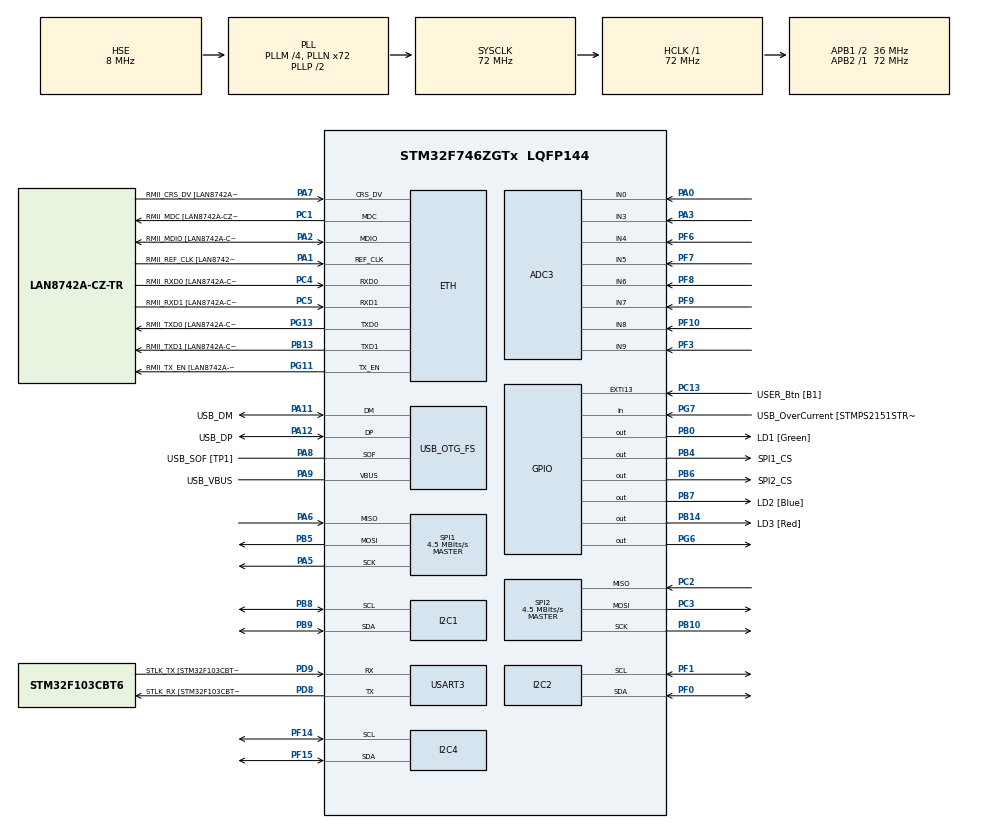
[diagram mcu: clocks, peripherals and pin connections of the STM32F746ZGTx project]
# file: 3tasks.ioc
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ADC3.Channel-1\#ChannelRegularConversion=ADC_CHANNEL_0
ADC3.NbrOfConversionFlag=1
ADC3.Rank-1\#ChannelRegularConversion=1
ADC3.SamplingTime-1\#ChannelRegularConversion=ADC_SAMPLETIME_3CYCLES
Dma.Request0=USART3_RX
Dma.Request1=USART3_TX
Dma.USART3_RX.0.Direction=DMA_PERIPH_TO_MEMORY
Dma.USART3_RX.0.FIFOMode=DMA_FIFOMODE_DISABLE
Dma.USART3_RX.0.Instance=DMA1_Stream1
Dma.USART3_RX.0.MemDataAlignment=DMA_MDATAALIGN_BYTE
Dma.USART3_RX.0.MemInc=DMA_MINC_ENABLE
Dma.USART3_RX.0.Mode=DMA_CIRCULAR
Dma.USART3_RX.0.PeriphDataAlignment=DMA_PDATAALIGN_BYTE
Dma.USART3_RX.0.PeriphInc=DMA_PINC_DISABLE
Dma.USART3_RX.0.Priority=DMA_PRIORITY_VERY_HIGH
Dma.USART3_TX.1.Direction=DMA_MEMORY_TO_PERIPH
Dma.USART3_TX.1.FIFOMode=DMA_FIFOMODE_DISABLE
Dma.USART3_TX.1.Instance=DMA1_Stream3
Dma.USART3_TX.1.MemDataAlignment=DMA_MDATAALIGN_BYTE
Dma.USART3_TX.1.MemInc=DMA_MINC_ENABLE
Dma.USART3_TX.1.Mode=DMA_NORMAL
Dma.USART3_TX.1.PeriphDataAlignment=DMA_PDATAALIGN_BYTE
Dma.USART3_TX.1.PeriphInc=DMA_PINC_DISABLE
Dma.USART3_TX.1.Priority=DMA_PRIORITY_VERY_HIGH
ETH.MediaInterface=HAL_ETH_RMII_MODE
ETH.PHY_Name=LAN8742A_PHY_ADDRESS
ETH.PHY_Value=0
ETH.PhyAddress=0
FREERTOS.BinarySemaphores01=myBinarySem,Dynamic,NULL
FREERTOS.INCLUDE_pcTaskGetTaskName=1
FREERTOS.INCLUDE_xSemaphoreGetMutexHolder=1
FREERTOS.Tasks01=Enable,40,128,StartEnable,Default,NULL,Dynamic,NULL,NULL;Init,32,128,StartInit,Default,NULL,Dynamic,NULL,NULL;Update,16,128,StartUpdate,Default,NULL,Dynamic,NULL,NULL;defaultTask,24,3000,StartDefaultTask,Default,NULL,Static,defaultTaskBuffer,defaultTaskControlBlock
FREERTOS.configUSE_NEWLIB_REENTRANT=1
I2C1.Timing=0x00808CD2
I2C2.Timing=0x00808CD2
I2C4.Timing=0x00808CD2
Mcu.Family=STM32F7
Mcu.Name=STM32F746ZGTx
Mcu.Package=LQFP144
NVIC.DMA1_Stream1_IRQn=true\:5\:0\:false\:false\:true\:true\:false\:true\:true
NVIC.DMA1_Stream3_IRQn=true\:5\:0\:false\:false\:true\:true\:false\:true\:true
NVIC.PriorityGroup=NVIC_PRIORITYGROUP_4
NVIC.TIM6_DAC_IRQn=true\:15\:0\:false\:false\:true\:false\:false\:true\:true
NVIC.TimeBase=TIM6_DAC_IRQn
NVIC.TimeBaseIP=TIM6
NVIC.USART3_IRQn=true\:5\:0\:false\:false\:true\:true\:true\:true\:true
PA0/WKUP.Signal=ADCx_IN0
PA1.GPIO_Label=RMII_REF_CLK [LAN8742A-CZ-TR_REFCLK0]
PA1.Mode=RMII
PA1.Signal=ETH_REF_CLK
PA10.GPIO_Label=USB_ID
PA10.Signal=USB_OTG_FS_ID
PA11.GPIO_Label=USB_DM
PA11.Mode=Device_Only
PA11.Signal=USB_OTG_FS_DM
PA12.GPIO_Label=USB_DP
PA12.Mode=Device_Only
PA12.Signal=USB_OTG_FS_DP
PA13.GPIO_Label=TMS
PA13.Mode=Serial_Wire
PA13.Signal=SYS_JTMS-SWDIO
PA14.GPIO_Label=TCK
PA14.Mode=Serial_Wire
PA14.Signal=SYS_JTCK-SWCLK
PA2.GPIO_Label=RMII_MDIO [LAN8742A-CZ-TR_MDIO]
PA2.Mode=RMII
PA2.Signal=ETH_MDIO
PA3.Signal=ADCx_IN3
PA5.Mode=Full_Duplex_Master
PA5.Signal=SPI1_SCK
PA6.Mode=Full_Duplex_Master
PA6.Signal=SPI1_MISO
PA7.GPIO_Label=RMII_CRS_DV [LAN8742A-CZ-TR_CRS_DV]
PA7.Mode=RMII
PA7.Signal=ETH_CRS_DV
PA8.GPIO_Label=USB_SOF [TP1]
PA8.Mode=Activate_SOF_FS
PA8.Signal=USB_OTG_FS_SOF
PA9.GPIO_Label=USB_VBUS
PA9.Mode=Activate_VBUS
PA9.Signal=USB_OTG_FS_VBUS
PB0.GPIO_Label=LD1 [Green]
PB0.Signal=GPIO_Output
PB10.Mode=Full_Duplex_Master
PB10.Signal=SPI2_SCK
PB13.GPIO_Label=RMII_TXD1 [LAN8742A-CZ-TR_TXD1]
PB13.Mode=RMII
PB13.Signal=ETH_TXD1
PB14.GPIO_Label=LD3 [Red]
PB14.Signal=GPIO_Output
PB3.GPIO_Label=SW0
PB3.Signal=SYS_JTDO-SWO
PB4.GPIO_Label=SPI1_CS
PB4.Signal=GPIO_Output
PB5.Mode=Full_Duplex_Master
PB5.Signal=SPI1_MOSI
PB6.GPIO_Label=SPI2_CS
PB6.Signal=GPIO_Output
PB7.GPIO_Label=LD2 [Blue]
PB7.Signal=GPIO_Output
PB8.Mode=I2C
PB8.Signal=I2C1_SCL
PB9.Mode=I2C
PB9.Signal=I2C1_SDA
PC1.GPIO_Label=RMII_MDC [LAN8742A-CZ-TR_MDC]
PC1.Mode=RMII
PC1.Signal=ETH_MDC
PC13.GPIO_Label=USER_Btn [B1]
PC13.Signal=GPXTI13
PC14/OSC32_IN.Mode=LSE-External-Oscillator
PC14/OSC32_IN.Signal=RCC_OSC32_IN
PC15/OSC32_OUT.Mode=LSE-External-Oscillator
PC15/OSC32_OUT.Signal=RCC_OSC32_OUT
PC2.Mode=Full_Duplex_Master
PC2.Signal=SPI2_MISO
PC3.Mode=Full_Duplex_Master
PC3.Signal=SPI2_MOSI
PC4.GPIO_Label=RMII_RXD0 [LAN8742A-CZ-TR_RXD0]
PC4.Mode=RMII
PC4.Signal=ETH_RXD0
PC5.GPIO_Label=RMII_RXD1 [LAN8742A-CZ-TR_RXD1]
PC5.Mode=RMII
PC5.Signal=ETH_RXD1
PD8.GPIO_Label=STLK_RX [STM32F103CBT6_PA3]
PD8.GPIO_PuPd=GPIO_PULLUP
PD8.Mode=Asynchronous
PD8.Signal=USART3_TX
PD9.GPIO_Label=STLK_TX [STM32F103CBT6_PA2]
PD9.GPIO_PuPd=GPIO_PULLUP
PD9.Mode=Asynchronous
PD9.Signal=USART3_RX
PF0.Mode=I2C
PF0.Signal=I2C2_SDA
PF1.Mode=I2C
PF1.Signal=I2C2_SCL
PF10.Mode=IN8
PF10.Signal=ADC3_IN8
PF14.Mode=I2C
PF14.Signal=I2C4_SCL
PF15.Mode=I2C
PF15.Signal=I2C4_SDA
PF3.Mode=IN9
PF3.Signal=ADC3_IN9
PF6.Mode=IN4
PF6.Signal=ADC3_IN4
PF7.Mode=IN5
PF7.Signal=ADC3_IN5
PF8.Mode=IN6
PF8.Signal=ADC3_IN6
PF9.Mode=IN7
PF9.Signal=ADC3_IN7
PG11.GPIO_Label=RMII_TX_EN [LAN8742A-CZ-TR_TXEN]
PG11.Mode=RMII
PG11.Signal=ETH_TX_EN
PG13.GPIO_Label=RMII_TXD0 [LAN8742A-CZ-TR_TXD0]
PG13.Mode=RMII
PG13.Signal=ETH_TXD0
PG6.Signal=GPIO_Output
PG7.GPIO_Label=USB_OverCurrent [STMPS2151STR_FAULT]
PG7.Signal=GPIO_Input
PH0/OSC_IN.GPIO_Label=MCO [STM32F103CBT6_PA8]
PH0/OSC_IN.Mode=HSE-External-Clock-Source
PH0/OSC_IN.Signal=RCC_OSC_IN
PH1/OSC_OUT.Mode=HSE-External-Clock-Source
PH1/OSC_OUT.Signal=RCC_OSC_OUT
ProjectManager.HeapSize=0x200
ProjectManager.StackSize=0x400
ProjectManager.TargetToolchain=Makefile
RCC.48MHZClocksFreq_Value=24000000
RCC.AHBFreq_Value=72000000
RCC.APB1CLKDivider=RCC_HCLK_DIV2
RCC.APB1Freq_Value=36000000
RCC.APB1TimFreq_Value=72000000
RCC.APB2Freq_Value=72000000
RCC.APB2TimFreq_Value=72000000
RCC.CortexFreq_Value=72000000
RCC.HCLKFreq_Value=72000000
RCC.HSE_VALUE=8000000
RCC.HSI_VALUE=16000000
RCC.PLLM=4
RCC.PLLMUL=RCC_PLL_MUL9
RCC.PLLN=72
RCC.PLLQ=3
RCC.PRESCALERUSB=RCC_USBCLKSOURCE_PLL_DIV1_5
RCC.SYSCLKFreq_VALUE=72000000
RCC.SYSCLKSource=RCC_SYSCLKSOURCE_PLLCLK
RCC.SYSCLKSourceVirtual=RCC_SYSCLKSOURCE_PLLCLK
RCC.USBFreq_Value=48000000
RCC.VCOOutputFreq_Value=144000000
SH.ADCx_IN0.0=ADC3_IN0,IN0
SH.ADCx_IN3.0=ADC3_IN3,IN3
SPI1.BaudRatePrescaler=SPI_BAUDRATEPRESCALER_16
SPI1.CalculateBaudRate=4.5 MBits/s
SPI1.DataSize=SPI_DATASIZE_8BIT
SPI1.Direction=SPI_DIRECTION_2LINES
SPI1.Mode=SPI_MODE_MASTER
SPI1.NSSPMode=SPI_NSS_PULSE_DISABLE
SPI1.VirtualType=VM_MASTER
SPI2.BaudRatePrescaler=SPI_BAUDRATEPRESCALER_8
SPI2.CalculateBaudRate=4.5 MBits/s
SPI2.DataSize=SPI_DATASIZE_8BIT
SPI2.Direction=SPI_DIRECTION_2LINES
SPI2.Mode=SPI_MODE_MASTER
SPI2.NSSPMode=SPI_NSS_PULSE_DISABLE
SPI2.VirtualType=VM_MASTER
USART3.VirtualMode-Asynchronous=VM_ASYNC
USB_OTG_FS.VirtualMode=Device_Only
VP_FREERTOS_VS_CMSIS_V2.Mode=CMSIS_V2
VP_SYS_VS_tim6.Mode=TIM6
board=NUCLEO-F746ZG

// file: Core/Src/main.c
/* USER CODE BEGIN Header */
/**
  ******************************************************************************
  * @file           : main.c
  * @brief          : Main program body
  ******************************************************************************
  * @attention
  *
  * Copyright (c) 2023 STMicroelectronics.
  * All rights reserved.
  *
  * This software is licensed under terms that can be found in the LICENSE file
  * in the root directory of this software component.
  * If no LICENSE file comes with this software, it is provided AS-IS.
  *
  ******************************************************************************
  */
/* USER CODE END Header */
#include "main.h"
#include "cmsis_os.h"
#include "adc.h"
#include "dma.h"
#include "eth.h"
#include "i2c.h"
#include "spi.h"
#include "usart.h"
#include "usb_otg.h"
#include "gpio.h"

/* USER CODE BEGIN Includes */
#include <std_msgs/msg/u_int8_multi_array.h>
/* USER CODE END Includes */

/* USER CODE BEGIN PD */
//Creating a structure to specify the SPI communication with MAX7301 will be 2 byte. One is the register address and the second is the data send to the MAX7301
typedef struct
{
	uint8_t address;
	uint8_t value;
} ConfigParam_t;

//Creating a structure to hold the state of each antenna
typedef struct
{
	uint8_t antEnable;
}ConfigAnt;
/* USER CODE END PD */

/* USER CODE BEGIN PV */
//Declaration of an array with enable value for 2 daisy chained MAX7301
static const ConfigParam_t arrayConfig[] = {{.address = 0x04, .value = 0x01},
											{.address = 0x04, .value = 0x01}};

//Declaration of an array with the initialization parameters. Port P4 to P27 set has output.
static const ConfigParam_t arrayInitialize[] = {{.address = 0x09, .value = 0x55},
												{.address = 0x0A, .value = 0x55},
												{.address = 0x0B, .value = 0x55},
												{.address = 0x0C, .value = 0x55},
												{.address = 0x0D, .value = 0x55},
												{.address = 0x0E, .value = 0x55}};
//Declaration of each antenna state. Each bit in each byte is to enable one antenna.
//Ex : ConfigRISA[0] control antenna 1 to 8, ConfigRISA[1] control antenna 9 to 17
// ConfigRISA[0].antEnable = 0000 0001 -> enable antenna 1 				and disable all others from this byte
// ConfigRISA[3].antEnable = 1000 1001 -> enable antenna 27, 30 and 34	and disable all others from this byte
static ConfigAnt ConfigRISA[] = 	{{.antEnable = 0xAA},		// [0] Antenna 1 	to 8
										 {.antEnable = 0xAA},		// [1] Antenna 9	to 16
										 {.antEnable = 0xAA},		// [2] Antenna 17 	to 24
										 {.antEnable = 0xAA},		// [3] Antenna 25 	to 32
										 {.antEnable = 0xAA},		// [4] Antenna 33 	to 40
										 {.antEnable = 0xAA}};		// [5] Antenna 41 	to 48

static ConfigAnt ConfigRISB[] = 	{{.antEnable = 0xAA},		// [0] Antenna 1 	to 8
										 {.antEnable = 0xAA},		// [1] Antenna 9	to 16
										 {.antEnable = 0xAA},		// [2] Antenna 17 	to 24
										 {.antEnable = 0xAA},		// [3] Antenna 25 	to 32
										 {.antEnable = 0xAA},		// [4] Antenna 33 	to 40
										 {.antEnable = 0xAA}};		// [5] Antenna 41 	to 48
/* USER CODE END PV */

void SystemClock_Config(void);
void MX_FREERTOS_Init(void);

int main(void)
{

  /* MCU Configuration--------------------------------------------------------*/

  /* Reset of all peripherals, Initializes the Flash interface and the Systick. */
  HAL_Init();

  /* Configure the system clock */
  SystemClock_Config();

  /* Initialize all configured peripherals */
  MX_GPIO_Init();
  MX_DMA_Init();
  MX_USART3_UART_Init();
  MX_USB_OTG_FS_PCD_Init();
  MX_SPI1_Init();
  MX_ETH_Init();
  MX_SPI2_Init();
  MX_ADC3_Init();
  MX_I2C1_Init();
  MX_I2C2_Init();
  MX_I2C4_Init();
  /* USER CODE BEGIN 2 */
  HAL_GPIO_WritePin(GPIOB,GPIO_PIN_4,GPIO_PIN_SET);
  HAL_GPIO_WritePin(GPIOB,GPIO_PIN_6,GPIO_PIN_SET);
  /* USER CODE END 2 */

  /* Init scheduler */
  osKernelInitialize();  /* Call init function for freertos objects (in freertos.c) */
  MX_FREERTOS_Init();

  /* Start scheduler */
  osKernelStart();
  /* We should never get here as control is now taken by the scheduler */
  /* Infinite loop */
  while (1)
  {

  }
}

void SystemClock_Config(void)
{
  RCC_OscInitTypeDef RCC_OscInitStruct = {0};
  RCC_ClkInitTypeDef RCC_ClkInitStruct = {0};

  /** Configure LSE Drive Capability
  */
  HAL_PWR_EnableBkUpAccess();

  /** Configure the main internal regulator output voltage
  */
  __HAL_RCC_PWR_CLK_ENABLE();
  __HAL_PWR_VOLTAGESCALING_CONFIG(PWR_REGULATOR_VOLTAGE_SCALE3);

  /** Initializes the RCC Oscillators according to the specified parameters
  * in the RCC_OscInitTypeDef structure.
  */
  RCC_OscInitStruct.OscillatorType = RCC_OSCILLATORTYPE_HSE;
  RCC_OscInitStruct.HSEState = RCC_HSE_BYPASS;
  RCC_OscInitStruct.PLL.PLLState = RCC_PLL_ON;
  RCC_OscInitStruct.PLL.PLLSource = RCC_PLLSOURCE_HSE;
  RCC_OscInitStruct.PLL.PLLM = 4;
  RCC_OscInitStruct.PLL.PLLN = 72;
  RCC_OscInitStruct.PLL.PLLP = RCC_PLLP_DIV2;
  RCC_OscInitStruct.PLL.PLLQ = 3;
  if (HAL_RCC_OscConfig(&RCC_OscInitStruct) != HAL_OK)
  {
    Error_Handler();
  }

  /** Initializes the CPU, AHB and APB buses clocks
  */
  RCC_ClkInitStruct.ClockType = RCC_CLOCKTYPE_HCLK|RCC_CLOCKTYPE_SYSCLK
                              |RCC_CLOCKTYPE_PCLK1|RCC_CLOCKTYPE_PCLK2;
  RCC_ClkInitStruct.SYSCLKSource = RCC_SYSCLKSOURCE_PLLCLK;
  RCC_ClkInitStruct.AHBCLKDivider = RCC_SYSCLK_DIV1;
  RCC_ClkInitStruct.APB1CLKDivider = RCC_HCLK_DIV2;
  RCC_ClkInitStruct.APB2CLKDivider = RCC_HCLK_DIV1;

  if (HAL_RCC_ClockConfig(&RCC_ClkInitStruct, FLASH_LATENCY_2) != HAL_OK)
  {
    Error_Handler();
  }
}

void HAL_TIM_PeriodElapsedCallback(TIM_HandleTypeDef *htim)
{
  if (htim->Instance == TIM6) {
    HAL_IncTick();
  }
}

void Error_Handler(void)
{
  __disable_irq();
  while (1)
  {
  }
}

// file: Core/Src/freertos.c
/* USER CODE BEGIN Header */
/**
  ******************************************************************************
  * File Name          : freertos.c
  * Description        : Code for freertos applications
  ******************************************************************************
  * @attention
  *
  * Copyright (c) 2023 STMicroelectronics.
  * All rights reserved.
  *
  * This software is licensed under terms that can be found in the LICENSE file
  * in the root directory of this software component.
  * If no LICENSE file comes with this software, it is provided AS-IS.
  *
  ******************************************************************************
  */
/* USER CODE END Header */

#include "FreeRTOS.h"
#include "task.h"
#include "main.h"
#include "cmsis_os.h"

/* USER CODE BEGIN Includes */
#include <stdbool.h>
#include <string.h>
#include "rcl/rcl.h"
#include <rcl/error_handling.h>
#include <rclc/rclc.h>
#include <rclc/executor.h>
#include <uxr/client/transport.h>
#include <rmw_microxrcedds_c/config.h>
#include <rmw_microros/rmw_microros.h>

#include <std_msgs/msg/int8.h>
#include <std_msgs/msg/int8_multi_array.h>
#include <std_msgs/msg/int32.h>
#include <std_msgs/msg/u_int8_multi_array.h>
#include <rosidl_runtime_c/message_type_support_struct.h>

#include "usart.h"
#include "spi.h"
#include "i2c.h"
/* USER CODE END Includes */

typedef StaticTask_t osStaticThreadDef_t;

/* USER CODE BEGIN PD */
#define PUB 2
#define SUB 1
#define MODE SUB

#define BUF_SIZE 100
#define MSG_LEN 6

//Creating a structure to specify the SPI communication with MAX7301 will be 2 byte. One is the register address and the second is the data send to the MAX7301
typedef struct
{
    uint8_t address;
    uint8_t value;
} ConfigParam_t;

//Creating a structure to hold the state of each antenna
typedef struct
{
    uint8_t antEnable;
}ConfigAnt;
/* USER CODE END PD */

/* USER CODE BEGIN Variables */
//Declaration of an array with enable value for 2 daisy chained MAX7301
static const ConfigParam_t arrayConfig[] = {{.address = 0x04, .value = 0x01},
                                            {.address = 0x04, .value = 0x01}};

//Declaration of an array with the initialization parameters. Port P4 to P27 set has output.
static const ConfigParam_t arrayInitialize[] = {{.address = 0x09, .value = 0x55},
                                                {.address = 0x0A, .value = 0x55},
                                                {.address = 0x0B, .value = 0x55},
                                                {.address = 0x0C, .value = 0x55},
                                                {.address = 0x0D, .value = 0x55},
                                                {.address = 0x0E, .value = 0x55}};
//Declaration of each antenna state. Each bit in each byte is to enable one antenna.
//Ex : ConfigRISA[0] control antenna 1 to 8, ConfigRISA[1] control antenna 9 to 17
// ConfigRISA[0].antEnable = 0000 0001 -> enable antenna 1 				and disable all others from this byte
// ConfigRISA[3].antEnable = 1000 1001 -> enable antenna 27, 30 and 34	and disable all others from this byte
static ConfigAnt ConfigRISA[] = 	{{.antEnable = 0xAA},		// [0] Antenna 1 	to 8
                                  {.antEnable = 0xAA},		// [1] Antenna 9	to 16
                                  {.antEnable = 0xAA},		// [2] Antenna 17 	to 24
                                  {.antEnable = 0xAA},		// [3] Antenna 25 	to 32
                                  {.antEnable = 0xAA},		// [4] Antenna 33 	to 40
                                  {.antEnable = 0xAA}};		// [5] Antenna 41 	to 48

static ConfigAnt ConfigRISB[] = 	{{.antEnable = 0xAA},		// [0] Antenna 1 	to 8
                                  {.antEnable = 0xAA},		// [1] Antenna 9	to 16
                                  {.antEnable = 0xAA},		// [2] Antenna 17 	to 24
                                  {.antEnable = 0xAA},		// [3] Antenna 25 	to 32
                                  {.antEnable = 0xAA},		// [4] Antenna 33 	to 40
                                  {.antEnable = 0xAA}};		// [5] Antenna 41 	to 48
/* USER CODE END Variables */
/* Definitions for Enable */
osThreadId_t EnableHandle;
const osThreadAttr_t Enable_attributes = {
  .name = "Enable",
  .stack_size = 128 * 4,
  .priority = (osPriority_t) osPriorityHigh,
};
/* Definitions for Init */
osThreadId_t InitHandle;
const osThreadAttr_t Init_attributes = {
  .name = "Init",
  .stack_size = 128 * 4,
  .priority = (osPriority_t) osPriorityAboveNormal,
};
/* Definitions for Test */
osThreadId_t TestHandle;
const osThreadAttr_t Test_attributes = {
  .name = "Test",
  .stack_size = 128 * 4,
  .priority = (osPriority_t) osPriorityNormal,
};
/* Definitions for Update */
osThreadId_t UpdateHandle;
const osThreadAttr_t Update_attributes = {
  .name = "Update",
  .stack_size = 128 * 4,
  .priority = (osPriority_t) osPriorityBelowNormal,
};
/* Definitions for defaultTask */
osThreadId_t defaultTaskHandle;
uint32_t defaultTaskBuffer[ 3000 ];
osStaticThreadDef_t defaultTaskControlBlock;
const osThreadAttr_t defaultTask_attributes = {
  .name = "defaultTask",
  .cb_mem = &defaultTaskControlBlock,
  .cb_size = sizeof(defaultTaskControlBlock),
  .stack_mem = &defaultTaskBuffer[0],
  .stack_size = sizeof(defaultTaskBuffer),
  .priority = (osPriority_t) osPriorityNormal,
};
/* Definitions for myBinarySem */
osSemaphoreId_t myBinarySemHandle;
const osSemaphoreAttr_t myBinarySem_attributes = {
  .name = "myBinarySem"
};

/* USER CODE BEGIN FunctionPrototypes */
bool cubemx_transport_open(struct uxrCustomTransport * transport);
bool cubemx_transport_close(struct uxrCustomTransport * transport);
size_t cubemx_transport_write(struct uxrCustomTransport* transport, const uint8_t * buf, size_t len, uint8_t * err);
size_t cubemx_transport_read(struct uxrCustomTransport* transport, uint8_t* buf, size_t len, int timeout, uint8_t* err);

void * microros_allocate(size_t size, void * state);
void microros_deallocate(void * pointer, void * state);
void * microros_reallocate(void * pointer, size_t size, void * state);
void * microros_zero_allocate(size_t number_of_elements, size_t size_of_element, void * state);

void read_cb(const void* msg);
/* USER CODE END FunctionPrototypes */

void StartEnable(void *argument);
void StartInit(void *argument);
void StartTest(void *argument);
void StartUpdate(void *argument);
void StartDefaultTask(void *argument);

void MX_FREERTOS_Init(void); /* (MISRA C 2004 rule 8.1) */

void MX_FREERTOS_Init(void) {

  /* Create the semaphores(s) */
  /* creation of myBinarySem */
  myBinarySemHandle = osSemaphoreNew(1, 1, &myBinarySem_attributes);

  /* Create the thread(s) */
  /* creation of Enable */
  EnableHandle = osThreadNew(StartEnable, NULL, &Enable_attributes);

  /* creation of Init */
  InitHandle = osThreadNew(StartInit, NULL, &Init_attributes);

  /* creation of Test */
#if 0
  TestHandle = osThreadNew(StartTest, NULL, &Test_attributes);
#endif

  /* creation of Update */
#if 0
  UpdateHandle = osThreadNew(StartUpdate, NULL, &Update_attributes);
#endif

  /* creation of defaultTask */
  defaultTaskHandle = osThreadNew(StartDefaultTask, NULL, &defaultTask_attributes);

}

void StartEnable(void *argument)
{
  /* USER CODE BEGIN StartEnable */
  // CS_LOW
  HAL_GPIO_WritePin(GPIOB,GPIO_PIN_4,GPIO_PIN_RESET);
  HAL_GPIO_WritePin(GPIOB,GPIO_PIN_6,GPIO_PIN_RESET);
  // RISA
  HAL_SPI_Transmit(&hspi1, (uint8_t *)&arrayConfig[0].address, 1, 10);
  HAL_SPI_Transmit(&hspi1, (uint8_t *)&arrayConfig[0].value, 1, 10);
  HAL_SPI_Transmit(&hspi1, (uint8_t *)&arrayConfig[1].address, 1, 10);
  HAL_SPI_Transmit(&hspi1, (uint8_t *)&arrayConfig[1].value, 1, 10);
  // RISB
  HAL_SPI_Transmit(&hspi2, (uint8_t *)&arrayConfig[0].address, 1, 10);
  HAL_SPI_Transmit(&hspi2, (uint8_t *)&arrayConfig[0].value, 1, 10);
  HAL_SPI_Transmit(&hspi2, (uint8_t *)&arrayConfig[1].address, 1, 10);
  HAL_SPI_Transmit(&hspi2, (uint8_t *)&arrayConfig[1].value, 1, 10);
  // CS_HIGHT
  HAL_GPIO_WritePin(GPIOB,GPIO_PIN_4,GPIO_PIN_SET);
  HAL_GPIO_WritePin(GPIOB,GPIO_PIN_6,GPIO_PIN_SET);
  //uint8_t data[]= "Enable completed\n";
  //HAL_UART_Transmit(&huart3, data, sizeof(data),500);
  /* Give semaphore to Task 2 */
  osSemaphoreRelease(myBinarySemHandle);
  /* Delete Task 1 */
  vTaskDelete(EnableHandle);
  /* USER CODE END StartEnable */
}

void StartInit(void *argument)
{
  /* USER CODE BEGIN StartInit */
  osSemaphoreAcquire(myBinarySemHandle, osWaitForever);
  uint8_t i = 0;
  //uint8_t data[]= "Init completed\n";
  for(i = 0; i < 6;i++)
  {
    // CS_LOW
    HAL_GPIO_WritePin(GPIOB,GPIO_PIN_4,GPIO_PIN_RESET);
    HAL_GPIO_WritePin(GPIOB,GPIO_PIN_6,GPIO_PIN_RESET);
    // RISA
    HAL_SPI_Transmit(&hspi1, (uint8_t *)&arrayInitialize[i].address, 1, 10);
    HAL_SPI_Transmit(&hspi1, (uint8_t *)&arrayInitialize[i].value, 1, 10);
    HAL_SPI_Transmit(&hspi1, (uint8_t *)&arrayInitialize[i].address, 1, 10);
    HAL_SPI_Transmit(&hspi1, (uint8_t *)&arrayInitialize[i].value, 1, 10);
    // RISB
    HAL_SPI_Transmit(&hspi2, (uint8_t *)&arrayInitialize[i].address, 1, 10);
    HAL_SPI_Transmit(&hspi2, (uint8_t *)&arrayInitialize[i].value, 1, 10);
    HAL_SPI_Transmit(&hspi2, (uint8_t *)&arrayInitialize[i].address, 1, 10);
    HAL_SPI_Transmit(&hspi2, (uint8_t *)&arrayInitialize[i].value, 1, 10);
    // CS_HIGHT
    HAL_GPIO_WritePin(GPIOB,GPIO_PIN_4,GPIO_PIN_SET);
    HAL_GPIO_WritePin(GPIOB,GPIO_PIN_6,GPIO_PIN_SET);
    //HAL_UART_Transmit(&huart3, data, sizeof(data),500);
  }
  /* Give semaphore to Task 3 */
  osSemaphoreRelease(myBinarySemHandle);
  /* Delete Task 2 */
  vTaskDelete(InitHandle);
  /* USER CODE END StartInit */
}

void StartTest(void *argument)
{
  for(;;)
  {
    osDelay(1);
  }
}

void StartUpdate(void *argument)
{
  /* USER CODE BEGIN StartUpdate */
  /* Infinite loop */
  for(;;)
  {
    osSemaphoreAcquire(myBinarySemHandle, osWaitForever);
    //This part Configure 8 antenna (P4 to P11 on each MAX7301)
    uint8_t bufferRISA1[2] = {0x44, ConfigRISA[0].antEnable};
    uint8_t bufferRISA2[2] = {0x44, ConfigRISA[3].antEnable};

    uint8_t bufferRISB1[2] = {0x44, ConfigRISA[0].antEnable};
    uint8_t bufferRISB2[2] = {0x44, ConfigRISA[3].antEnable};

    HAL_GPIO_WritePin(GPIOB,GPIO_PIN_4,GPIO_PIN_RESET);
    HAL_GPIO_WritePin(GPIOB,GPIO_PIN_6,GPIO_PIN_RESET);

    HAL_SPI_Transmit(&hspi1, (uint8_t *)&bufferRISA2, 2, 10);
    HAL_SPI_Transmit(&hspi1, (uint8_t *)&bufferRISA1, 2, 10);

    HAL_SPI_Transmit(&hspi2, (uint8_t *)&bufferRISB2, 2, 10);
    HAL_SPI_Transmit(&hspi2, (uint8_t *)&bufferRISB1, 2, 10);

    HAL_GPIO_WritePin(GPIOB,GPIO_PIN_4,GPIO_PIN_SET);
    HAL_GPIO_WritePin(GPIOB,GPIO_PIN_6,GPIO_PIN_SET);

    //This part Configure 8 antenna (P12 to P19 on each MAX7301)
    bufferRISA1[0] = 0x4C;
    bufferRISA1[1] = ConfigRISA[1].antEnable;
    bufferRISA2[0] = 0x4C;
    bufferRISA2[1] = ConfigRISA[4].antEnable;

    bufferRISB1[0] = 0x4C;
    bufferRISB1[1] = ConfigRISB[1].antEnable;
    bufferRISB2[0] = 0x4C;
    bufferRISB2[1] = ConfigRISB[4].antEnable;

    HAL_GPIO_WritePin(GPIOB,GPIO_PIN_4,GPIO_PIN_RESET);
    HAL_GPIO_WritePin(GPIOB,GPIO_PIN_6,GPIO_PIN_RESET);

    HAL_SPI_Transmit(&hspi1, (uint8_t *)&bufferRISA2, 2, 10);
    HAL_SPI_Transmit(&hspi1, (uint8_t *)&bufferRISA1, 2, 10);

    HAL_SPI_Transmit(&hspi2, (uint8_t *)&bufferRISB2, 2, 10);
    HAL_SPI_Transmit(&hspi2, (uint8_t *)&bufferRISB1, 2, 10);

    HAL_GPIO_WritePin(GPIOB,GPIO_PIN_4,GPIO_PIN_SET);
    HAL_GPIO_WritePin(GPIOB,GPIO_PIN_6,GPIO_PIN_SET);

    //This part Configure 8 antenna (P20 to P27 on each MAX7301)
    bufferRISA1[0] = 0x54;
    bufferRISA1[1] = ConfigRISA[2].antEnable;
    bufferRISA2[0] = 0x54;
    bufferRISA2[1] = ConfigRISA[5].antEnable;

    bufferRISB1[0] = 0x54;
    bufferRISB1[1] = ConfigRISB[2].antEnable;
    bufferRISB2[0] = 0x54;
    bufferRISB2[1] = ConfigRISB[5].antEnable;

    HAL_GPIO_WritePin(GPIOB,GPIO_PIN_4,GPIO_PIN_RESET);
    HAL_GPIO_WritePin(GPIOB,GPIO_PIN_6,GPIO_PIN_RESET);

    HAL_SPI_Transmit(&hspi1, (uint8_t *)&bufferRISA2, 2, 10);
    HAL_SPI_Transmit(&hspi1, (uint8_t *)&bufferRISA1, 2, 10);

    HAL_SPI_Transmit(&hspi2, (uint8_t *)&bufferRISB2, 2, 10);
    HAL_SPI_Transmit(&hspi2, (uint8_t *)&bufferRISB1, 2, 10);

    HAL_GPIO_WritePin(GPIOB,GPIO_PIN_4,GPIO_PIN_SET);
    HAL_GPIO_WritePin(GPIOB,GPIO_PIN_6,GPIO_PIN_SET);

    //uint8_t data[]= "Update completed\n";
    //HAL_UART_Transmit(&huart3, data, sizeof(data),500);
    osDelay(500);
  }
  /* USER CODE END StartUpdate */
}

void StartDefaultTask(void *argument)
{
  /* USER CODE BEGIN StartDefaultTask */
  osSemaphoreAcquire(myBinarySemHandle, osWaitForever);

  // micro-ROS configuration
  rmw_uros_set_custom_transport(
          true,
          (void *) &huart3,
          cubemx_transport_open,
          cubemx_transport_close,
          cubemx_transport_write,
          cubemx_transport_read);

  rcl_allocator_t freeRTOS_allocator = rcutils_get_zero_initialized_allocator();
  freeRTOS_allocator.allocate = microros_allocate;
  freeRTOS_allocator.deallocate = microros_deallocate;
  freeRTOS_allocator.reallocate = microros_reallocate;
  freeRTOS_allocator.zero_allocate =  microros_zero_allocate;

  if (!rcutils_set_default_allocator(&freeRTOS_allocator)) {
    printf("Error on default allocators (line %d)\n", __LINE__);
  }

  // micro-ROS app
  rcl_ret_t ret = RCL_RET_OK;
  char err_log[BUF_SIZE] = "";
  // micro-ROS app

  //create init_options
#if 0
  std_msgs__msg__Int32 tx_msg = {.data = 66};
#endif

  uint8_t rx_data[MSG_LEN] = {0};
  std_msgs__msg__UInt8MultiArray rx_msg;
  rx_msg.data.data = rx_data;

  const rosidl_message_type_support_t* type_supp =  ROSIDL_GET_MSG_TYPE_SUPPORT(std_msgs, msg, UInt8MultiArray);
  const char* topic = "t1";

  rcl_allocator_t allocator = rcl_get_default_allocator();
  rclc_support_t support;
  ret = rclc_support_init(&support, 0, NULL, &allocator);
  if (RCL_RET_OK != ret) {strcat(err_log, "3"); }

#if (PUB == MODE)
  // create nodes
  rcl_node_t pub_node = rcl_get_zero_initialized_node();
  ret = rclc_node_init_default(&pub_node, "stm32_pub_node", "", &support);
  if (RCL_RET_OK != ret) {strcat(err_log, "4");}
#else
  rcl_node_t sub_node = rcl_get_zero_initialized_node();
  ret = rclc_node_init_default(&sub_node, "stm32_sub_node", "", &support);
  if (RCL_RET_OK != ret) {strcat(err_log, "5"); }
#endif

#if (PUB == MODE)
  // create publisher
  rcl_publisher_t pub = rcl_get_zero_initialized_publisher();
  ret = rclc_publisher_init_default(&pub, &pub_node, type_supp, topic);
  if (RCL_RET_OK != ret) {strcat(err_log, "6");}
#else
  // create subscriber
  rcl_subscription_t sub = rcl_get_zero_initialized_subscription();
  ret = rclc_subscription_init_default(&sub, &sub_node, type_supp, topic);
  if (RCL_RET_OK != ret) {strcat(err_log, "7"); }

  // alloc on ROS message Rx
  rmw_subscription_allocation_t allocation;

  // create executor
  rclc_executor_t exe = rclc_executor_get_zero_initialized_executor();
  rclc_executor_init(&exe, &support.context, 1, &allocator);
  rclc_executor_add_subscription(&exe, &sub, &rx_msg, read_cb, ON_NEW_DATA);

  rclc_executor_spin(&exe);

#endif

  for(;;)
  {
#if (PUB == MODE)
#if 01
    ret = rcl_publish(&pub, &tx_msg, NULL);
    if (ret != RCL_RET_OK)
    {
      strcat(err_log, "8");
    }
#endif
#else
    #if 0
    ret = rcl_take(&sub, (void*)&rx_msg, NULL, &allocation);
    if (RCL_RET_OK != ret)
    {
      strncat(err_log, "9", BUF_SIZE);
      switch (ret)
      {
        case 1:
          HAL_GPIO_WritePin(GPIOB, LD1_Pin, 1);
          break;
        case 2:
          HAL_GPIO_WritePin(GPIOB, LD2_Pin, 1);
          break;
        case 3:
          HAL_GPIO_WritePin(GPIOB, LD3_Pin, 1);
          break;
        default:
          break;
      }

    }

    else
    {
      HAL_GPIO_WritePin(GPIOB, LD3_Pin, 1);
    }
#endif
#endif

    osDelay(10);
  }

  osSemaphoreRelease(myBinarySemHandle);
  /* USER CODE END StartDefaultTask */
}

/* USER CODE BEGIN Application */
void read_cb(const void* msg)
{
  uint8_t* rx_data = ((std_msgs__msg__UInt8MultiArray*)msg)->data.data;
#if 01
  if (1 == rx_data[0] && 2 == rx_data[1] && 3 == rx_data[2])
  {
    HAL_GPIO_WritePin(GPIOB, LD1_Pin, 1);
    HAL_GPIO_WritePin(GPIOB, LD2_Pin, 0);
    HAL_GPIO_WritePin(GPIOB, LD3_Pin, 0);
  }
  else if (2 == rx_data[0] && 2 == rx_data[1] && 3 == rx_data[2])
  {
    HAL_GPIO_WritePin(GPIOB, LD1_Pin, 0);
    HAL_GPIO_WritePin(GPIOB, LD2_Pin, 1);
    HAL_GPIO_WritePin(GPIOB, LD3_Pin, 0);
  }
  else if (69 == rx_data[3] && 200 == rx_data[4] && 255 == rx_data[5])
  {
    HAL_GPIO_WritePin(GPIOB, LD1_Pin, 0);
    HAL_GPIO_WritePin(GPIOB, LD2_Pin, 0);
    HAL_GPIO_WritePin(GPIOB, LD3_Pin, 1);
  }
  else
  {
    HAL_GPIO_WritePin(GPIOB, LD1_Pin, 0);
    HAL_GPIO_WritePin(GPIOB, LD2_Pin, 0);
    HAL_GPIO_WritePin(GPIOB, LD3_Pin, 0);
  }
#endif

  for (int i = 0; i < MSG_LEN; i++)
  {
    ConfigRISA[i].antEnable = rx_data[i];
  }

  //This part Configure 8 antenna (P4 to P11 on each MAX7301)
  uint8_t bufferRISA1[2] = {0x44, ConfigRISA[0].antEnable};
  uint8_t bufferRISA2[2] = {0x44, ConfigRISA[3].antEnable};

  uint8_t bufferRISB1[2] = {0x44, ConfigRISA[0].antEnable};
  uint8_t bufferRISB2[2] = {0x44, ConfigRISA[3].antEnable};

  HAL_GPIO_WritePin(GPIOB,GPIO_PIN_4,GPIO_PIN_RESET);
  HAL_GPIO_WritePin(GPIOB,GPIO_PIN_6,GPIO_PIN_RESET);

  HAL_SPI_Transmit(&hspi1, (uint8_t *)&bufferRISA2, 2, 10);
  HAL_SPI_Transmit(&hspi1, (uint8_t *)&bufferRISA1, 2, 10);

  HAL_SPI_Transmit(&hspi2, (uint8_t *)&bufferRISB2, 2, 10);
  HAL_SPI_Transmit(&hspi2, (uint8_t *)&bufferRISB1, 2, 10);

  HAL_GPIO_WritePin(GPIOB,GPIO_PIN_4,GPIO_PIN_SET);
  HAL_GPIO_WritePin(GPIOB,GPIO_PIN_6,GPIO_PIN_SET);

  //This part Configure 8 antenna (P12 to P19 on each MAX7301)
  bufferRISA1[0] = 0x4C;
  bufferRISA1[1] = ConfigRISA[1].antEnable;
  bufferRISA2[0] = 0x4C;
  bufferRISA2[1] = ConfigRISA[4].antEnable;

  bufferRISB1[0] = 0x4C;
  bufferRISB1[1] = ConfigRISB[1].antEnable;
  bufferRISB2[0] = 0x4C;
  bufferRISB2[1] = ConfigRISB[4].antEnable;

  HAL_GPIO_WritePin(GPIOB,GPIO_PIN_4,GPIO_PIN_RESET);
  HAL_GPIO_WritePin(GPIOB,GPIO_PIN_6,GPIO_PIN_RESET);

  HAL_SPI_Transmit(&hspi1, (uint8_t *)&bufferRISA2, 2, 10);
  HAL_SPI_Transmit(&hspi1, (uint8_t *)&bufferRISA1, 2, 10);

  HAL_SPI_Transmit(&hspi2, (uint8_t *)&bufferRISB2, 2, 10);
  HAL_SPI_Transmit(&hspi2, (uint8_t *)&bufferRISB1, 2, 10);

  HAL_GPIO_WritePin(GPIOB,GPIO_PIN_4,GPIO_PIN_SET);
  HAL_GPIO_WritePin(GPIOB,GPIO_PIN_6,GPIO_PIN_SET);

  //This part Configure 8 antenna (P20 to P27 on each MAX7301)
  bufferRISA1[0] = 0x54;
  bufferRISA1[1] = ConfigRISA[2].antEnable;
  bufferRISA2[0] = 0x54;
  bufferRISA2[1] = ConfigRISA[5].antEnable;

  bufferRISB1[0] = 0x54;
  bufferRISB1[1] = ConfigRISB[2].antEnable;
  bufferRISB2[0] = 0x54;
  bufferRISB2[1] = ConfigRISB[5].antEnable;

  HAL_GPIO_WritePin(GPIOB,GPIO_PIN_4,GPIO_PIN_RESET);
  HAL_GPIO_WritePin(GPIOB,GPIO_PIN_6,GPIO_PIN_RESET);

  HAL_SPI_Transmit(&hspi1, (uint8_t *)&bufferRISA2, 2, 10);
  HAL_SPI_Transmit(&hspi1, (uint8_t *)&bufferRISA1, 2, 10);

  HAL_SPI_Transmit(&hspi2, (uint8_t *)&bufferRISB2, 2, 10);
  HAL_SPI_Transmit(&hspi2, (uint8_t *)&bufferRISB1, 2, 10);

  HAL_GPIO_WritePin(GPIOB,GPIO_PIN_4,GPIO_PIN_SET);
  HAL_GPIO_WritePin(GPIOB,GPIO_PIN_6,GPIO_PIN_SET);

  //uint8_t data[]= "Update completed\n";
  //HAL_UART_Transmit(&huart3, data, sizeof(data),500);
}
/* USER CODE END Application */
